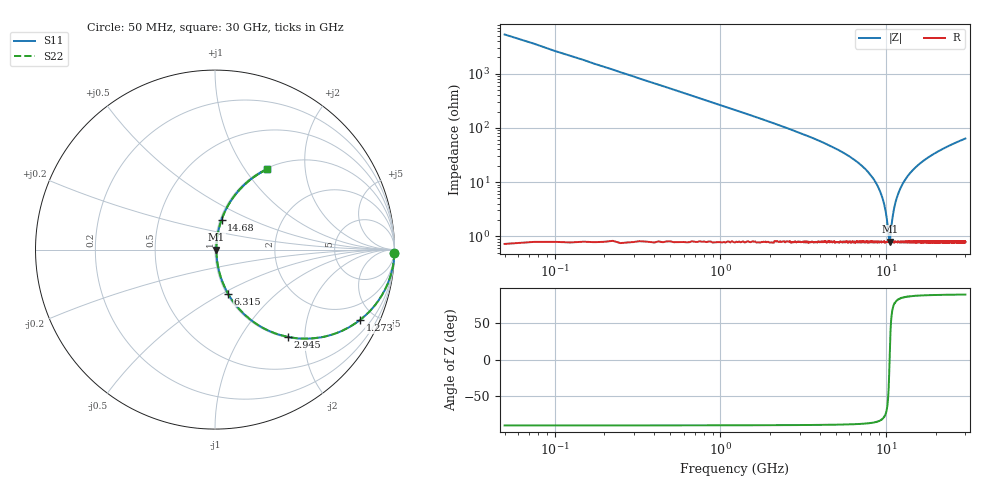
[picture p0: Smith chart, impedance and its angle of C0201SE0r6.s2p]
!	AVX Thin Film Operation 	Date: April 2014
!	Description: Accu-P® Series, Thin Film  SMD RF Capacitor
!	Part Number: 02015J0R6PBSTR
# MHZ S MA R 50
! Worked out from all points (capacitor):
!   1201 points, 50 MHz to 30 GHz, reference 50 ohm
!   read as one part in series: C = 600 fF near 199.8 MHz
!   lowest |Z| = 800 mohm at 10.48 GHz (marker M1)
!   series resonance near 10.47 GHz, so ESL is about 390 pH
!   S11 on the Smith chart (normalised r, x): 50 MHz: open; 1.273 GHz: 1.01, -4.11; 2.945 GHz: 1.02, -1.66; 6.315 GHz: 1.02, -0.53; 14.68 GHz: 1.02, +0.35; 30 GHz: 1.02, +1.27
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50  1 -1.1  0.019 88.9  0.019 88.9  1 -1.1
274.625  0.995 -5.9  0.103 84.0  0.103 84.0  0.995 -5.9
474.292  0.984 -10.2  0.176 79.8  0.176 79.8  0.984 -10.2
823.708  0.954 -17.3  0.298 72.5  0.298 72.5  0.954 -17.3
1272.958  0.898 -25.9  0.437 63.9  0.437 63.9  0.898 -25.9
2021.708  0.782 -38.2  0.619 51.4  0.619 51.4  0.782 -38.2
2945.167  0.635 -50.0  0.766 39.5  0.766 39.5  0.635 -50.0
5041.667  0.372 -67.0  0.921 21.9  0.921 21.9  0.372 -67.0
6314.542  0.256 -73.5  0.959 14.9  0.959 14.9  0.256 -73.5
8810.375  0.087 -79.9  0.988 5.0  0.988 5.0  0.087 -79.9
9584.083  0.045 -77.5  0.991 2.6  0.991 2.6  0.045 -77.5
10058.29  0.022 -67.7  0.992 1.2  0.992 1.2  0.022 -67.7
10357.79  0.00958 -34.7  0.992 0.3  0.992 0.3  0.00958 -34.7
10482.58  0.007866 3.8  0.992 -0.0  0.992 -0.0  0.007866 3.8
11106.54  0.031 73.5  0.992 -1.7  0.992 -1.7  0.031 73.5
11830.33  0.062 79.2  0.99 -3.5  0.99 -3.5  0.062 79.2
12853.62  0.103 79.8  0.987 -5.9  0.987 -5.9  0.103 79.8
14675.58  0.171 77.6  0.978 -9.8  0.978 -9.8  0.171 77.6
15025  0.183 77.1  0.976 -10.5  0.976 -10.5  0.183 77.1
20016.67  0.33 69.5  0.937 -19.2  0.937 -19.2  0.33 69.5
25033.29  0.444 62.7  0.889 -26.4  0.889 -26.4  0.444 62.7
30000  0.534 57.0  0.839 -32.3  0.839 -32.3  0.534 57.0
